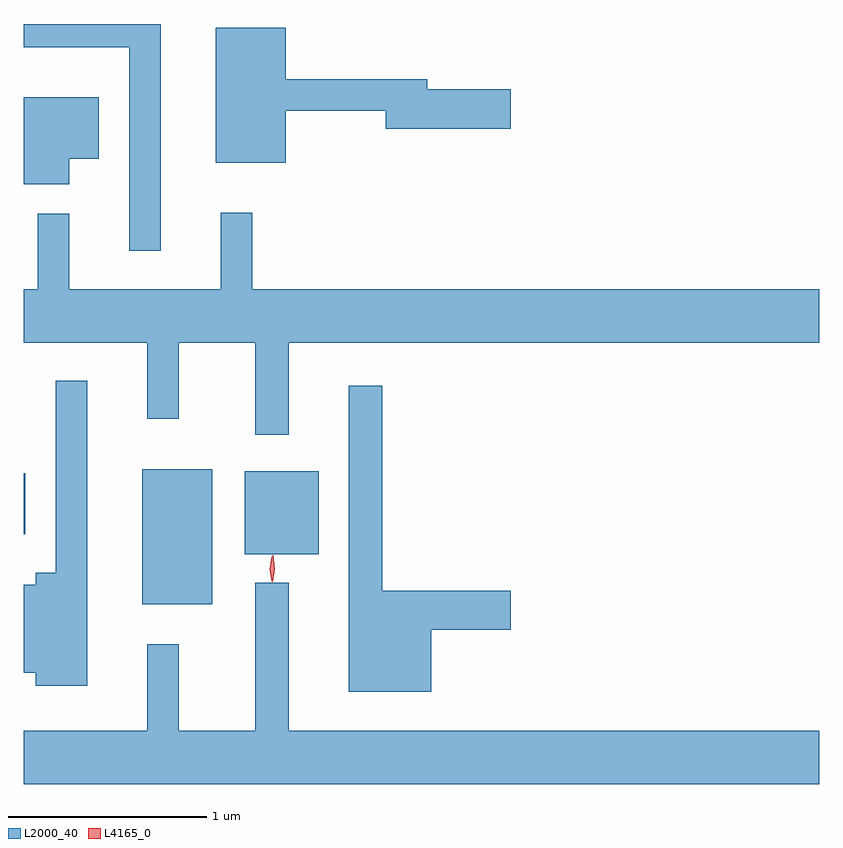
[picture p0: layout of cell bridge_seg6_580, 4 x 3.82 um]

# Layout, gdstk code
import gdstk
lib = gdstk.Library(unit=1e-6, precision=1e-09)
def R(c, l, rs):  # rectangles x0, y0, x1, y1
    for r in rs: c.add(gdstk.rectangle(r[:2], r[2:], *l))
def P(c, l, *ps):  # polygons
    for p in ps: c.add(gdstk.Polygon(p, *l))
L2000_40 = (2000, 40)
L4165_0 = (4165, 0)

bridge_seg6_580 = lib.new_cell('bridge_seg6_580')
R(bridge_seg6_580, L2000_40, [(556.291,1613.101,556.644,1613.779), (556.806,1613.351,557.179,1613.769), (555.696,1613.451,555.704,1613.759)])
P(bridge_seg6_580, L2000_40, [(556.384,1616.018),(555.696,1616.018),(555.696,1615.901),(556.226,1615.901),(556.226,1614.878),(556.384,1614.878)],
  [(557.014,1615.581),(557.516,1615.581),(557.516,1615.491),(558.144,1615.491),(558.144,1615.689),(557.724,1615.689),(557.724,1615.739),(557.014,1615.739),(557.014,1615.999),(556.661,1615.999),(556.661,1615.321),(557.014,1615.321)],
  [(555.924,1615.341),(556.074,1615.341),(556.074,1615.649),(555.696,1615.649),(555.696,1615.211),(555.924,1615.211)],
  [(557.029,1614.416),(559.696,1614.416),(559.696,1614.684),(556.844,1614.684),(556.844,1615.068),(556.686,1615.068),(556.686,1614.684),(555.924,1614.684),(555.924,1615.063),(555.766,1615.063),(555.766,1614.684),(555.696,1614.684),(555.696,1614.416),(556.316,1614.416),(556.316,1614.033),(556.474,1614.033),(556.474,1614.416),(556.861,1614.416),(556.861,1613.953),(557.029,1613.953)],
  [(556.014,1614.223),(555.856,1614.223),(555.856,1613.259),(555.756,1613.259),(555.756,1613.199),(555.696,1613.199),(555.696,1612.756),(555.756,1612.756),(555.756,1612.691),(556.014,1612.691)],
  [(557.744,1612.971),(558.144,1612.971),(558.144,1613.169),(557.499,1613.169),(557.499,1614.198),(557.331,1614.198),(557.331,1612.661),(557.744,1612.661)],
  [(559.696,1612.464),(557.029,1612.464),(557.029,1613.208),(556.861,1613.208),(556.861,1612.464),(556.474,1612.464),(556.474,1612.898),(556.316,1612.898),(556.316,1612.464),(555.696,1612.464),(555.696,1612.196),(559.696,1612.196)])
P(bridge_seg6_580, L4165_0, [(556.948,1613.209),(556.947,1613.21),(556.939,1613.278),(556.949,1613.346),(556.95,1613.346),(556.95,1613.346),(556.959,1613.278),(556.948,1613.21)],
  [(556.942,1613.213),(556.942,1613.213),(556.932,1613.277),(556.942,1613.341),(556.942,1613.342),(556.942,1613.341),(556.952,1613.277),(556.942,1613.213)])

lib.write_gds('bridge_seg6_580.gds')
